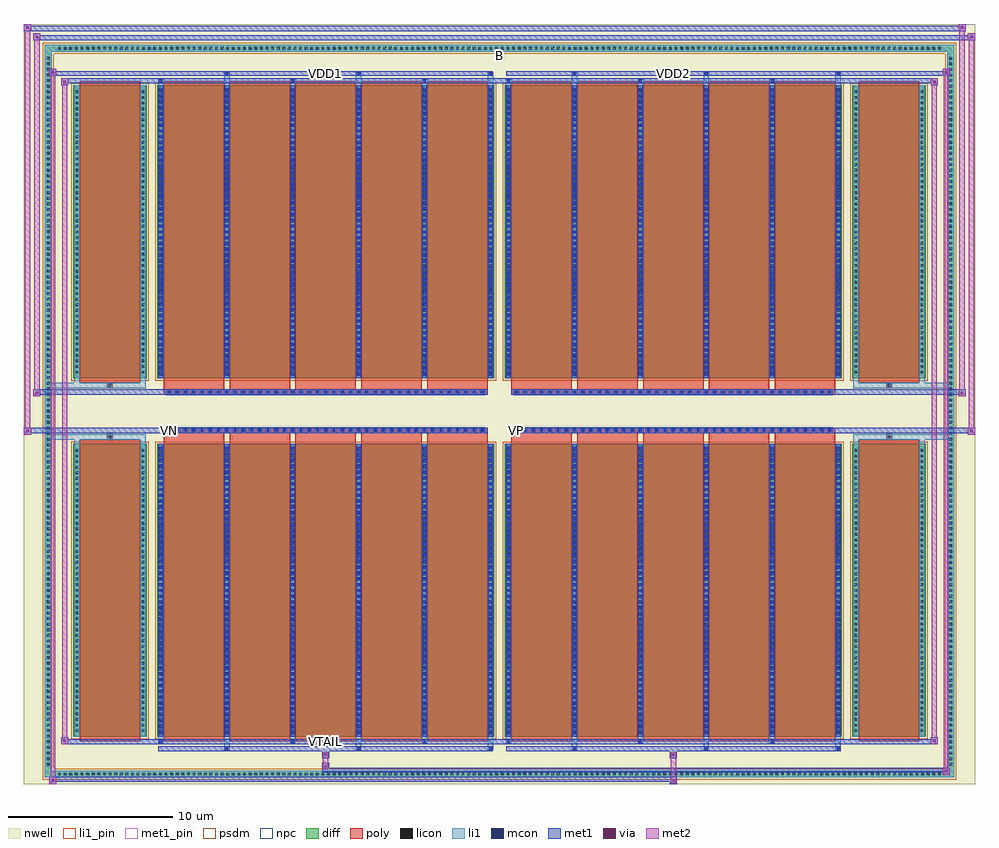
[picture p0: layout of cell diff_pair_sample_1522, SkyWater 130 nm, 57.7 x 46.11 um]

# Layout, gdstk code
import gdstk
lib = gdstk.Library(unit=1e-6, precision=5e-09)
def R(c, l, rs):  # rectangles x0, y0, x1, y1
    for r in rs: c.add(gdstk.rectangle(r[:2], r[2:], *l))
def A(c, l, x, y, w, h, nx, ny, dx, dy):  # array of equal rectangles
    R(c, l, [(x+i*dx, y+j*dy, x+i*dx+w, y+j*dy+h) for i in range(nx) for j in range(ny)])
def P(c, l, *ps):  # polygons
    for p in ps: c.add(gdstk.Polygon(p, *l))
nwell = (64, 20)
diff = (65, 20)
poly = (66, 20)
licon = (66, 44)
li1_pin = (67, 16)
li1 = (67, 20)
mcon = (67, 44)
met1_pin = (68, 16)
met1 = (68, 20)
via = (68, 44)
met2 = (69, 20)
psdm = (94, 20)
npc = (95, 20)

diff_pair_sample_1522 = lib.new_cell('diff_pair_sample_1522')
R(diff_pair_sample_1522, nwell, [(-28.85,-22.62,28.85,23.49), (-26.17,-20.81,-0.01,-0.795), (0.01,-20.81,26.17,-0.795), (-26.17,0.795,-0.01,20.81), (0.01,0.795,26.17,20.81)])
A(diff_pair_sample_1522, diff, -26.895, -22.22, 0.41, 0.41, 158, 2, 0.34, 44.03)
A(diff_pair_sample_1522, diff, -27.58, -21.625, 0.41, 0.41, 1, 127, 0, 0.34)
A(diff_pair_sample_1522, diff, 27.17, -21.625, 0.41, 0.41, 1, 127, 0, 0.34)
R(diff_pair_sample_1522, diff, [(-26.895,-22.22,26.895,-21.81), (-27.58,-21.625,-27.17,21.625), (27.17,-21.625,27.58,21.625), (-25.86,-19.765,-21.41,-1.985), (-20.77,-19.765,-0.32,-1.985), (0.32,-19.765,20.77,-1.985), (21.41,-19.765,25.86,-1.985), (-25.86,1.985,-21.41,19.765), (-20.77,1.985,-0.32,19.765), (0.32,1.985,20.77,19.765), (21.41,1.985,25.86,19.765), (-26.895,21.81,26.895,22.22)])
P(diff_pair_sample_1522, diff, [(27.58,22.22),(-27.58,22.22),(-27.58,-21.81),(-27.17,-21.81),(-27.17,21.81),(27.17,21.81),(27.17,-21.81),(-27.17,-21.81),(-27.58,-21.81),(-27.58,-22.22),(27.58,-22.22)])
A(diff_pair_sample_1522, poly, -20.38, -20.015, 3.67, 18.28, 5, 2, 4, 21.75)
A(diff_pair_sample_1522, poly, 0.71, -20.015, 3.67, 18.28, 5, 2, 4, 21.75)
A(diff_pair_sample_1522, poly, -20.38, -1.735, 3.67, 0.41, 5, 2, 4, 3.06)
A(diff_pair_sample_1522, poly, 0.71, -1.735, 3.67, 0.41, 5, 2, 4, 3.06)
A(diff_pair_sample_1522, poly, -20.21, -1.325, 0.33, 0.33, 39, 2, 0.5, 2.32)
A(diff_pair_sample_1522, poly, 0.88, -1.325, 0.33, 0.33, 39, 2, 0.5, 2.32)
R(diff_pair_sample_1522, poly, [(-25.47,-20.015,-21.8,-1.735), (21.8,-20.015,25.47,-1.735), (-23.8,-1.735,-23.47,-1.405), (-23.8,-1.735,-23.47,-1.405), (23.47,-1.735,23.8,-1.405), (23.47,-1.735,23.8,-1.405), (-20.38,-1.325,-0.71,-0.995), (0.71,-1.325,20.38,-0.995), (-20.38,0.995,-0.71,1.325), (0.71,0.995,20.38,1.325), (-23.8,1.405,-23.47,1.735), (-23.8,1.405,-23.47,1.735), (23.47,1.405,23.8,1.735), (23.47,1.405,23.8,1.735), (-25.47,1.735,-21.8,20.015), (21.8,1.735,25.47,20.015)])
A(diff_pair_sample_1522, licon, -26.775, -22.1, 0.17, 0.17, 158, 2, 0.34, 44.03)
A(diff_pair_sample_1522, licon, -27.46, -21.505, 0.17, 0.17, 1, 127, 0, 0.34)
A(diff_pair_sample_1522, licon, 27.29, -21.505, 0.17, 0.17, 1, 127, 0, 0.34)
A(diff_pair_sample_1522, licon, -25.72, -19.46, 0.17, 0.17, 1, 51, 0, 0.34)
A(diff_pair_sample_1522, licon, -21.72, -19.46, 0.17, 0.17, 1, 51, 0, 0.34)
A(diff_pair_sample_1522, licon, -20.63, -19.46, 0.17, 0.17, 6, 51, 4, 0.34)
A(diff_pair_sample_1522, licon, 0.46, -19.46, 0.17, 0.17, 6, 51, 4, 0.34)
A(diff_pair_sample_1522, licon, 21.55, -19.46, 0.17, 0.17, 1, 51, 0, 0.34)
A(diff_pair_sample_1522, licon, 25.55, -19.46, 0.17, 0.17, 1, 51, 0, 0.34)
A(diff_pair_sample_1522, licon, -20.13, -1.245, 0.17, 0.17, 39, 2, 0.5, 2.32)
A(diff_pair_sample_1522, licon, 0.96, -1.245, 0.17, 0.17, 39, 2, 0.5, 2.32)
A(diff_pair_sample_1522, licon, -25.72, 2.29, 0.17, 0.17, 1, 51, 0, 0.34)
A(diff_pair_sample_1522, licon, -21.72, 2.29, 0.17, 0.17, 1, 51, 0, 0.34)
A(diff_pair_sample_1522, licon, -20.63, 2.29, 0.17, 0.17, 6, 51, 4, 0.34)
A(diff_pair_sample_1522, licon, 0.46, 2.29, 0.17, 0.17, 6, 51, 4, 0.34)
A(diff_pair_sample_1522, licon, 21.55, 2.29, 0.17, 0.17, 1, 51, 0, 0.34)
A(diff_pair_sample_1522, licon, 25.55, 2.29, 0.17, 0.17, 1, 51, 0, 0.34)
R(diff_pair_sample_1522, licon, [(-23.72,-1.655,-23.55,-1.485), (23.55,-1.655,23.72,-1.485), (-23.72,1.485,-23.55,1.655), (23.55,1.485,23.72,1.655)])
R(diff_pair_sample_1522, li1_pin, [(-0.25,21.31,0.25,21.81)])
A(diff_pair_sample_1522, li1, -26.855, -22.18, 0.33, 0.33, 158, 2, 0.34, 44.03)
A(diff_pair_sample_1522, li1, -27.54, -21.585, 0.33, 0.33, 1, 127, 0, 0.34)
A(diff_pair_sample_1522, li1, 27.21, -21.585, 0.33, 0.33, 1, 127, 0, 0.34)
A(diff_pair_sample_1522, li1, -16.71, -20.57, 0.33, 0.805, 3, 2, 8, 40.335)
A(diff_pair_sample_1522, li1, -16.63, -20.57, 0.17, 0.17, 3, 2, 8, 40.97)
A(diff_pair_sample_1522, li1, 4.38, -20.57, 0.33, 0.805, 3, 2, 8, 40.335)
A(diff_pair_sample_1522, li1, 4.46, -20.57, 0.17, 0.17, 3, 2, 8, 40.97)
A(diff_pair_sample_1522, li1, -20.71, -20.14, 0.33, 0.375, 3, 2, 8, 39.905)
A(diff_pair_sample_1522, li1, -20.63, -20.14, 0.17, 0.17, 3, 2, 8, 40.11)
A(diff_pair_sample_1522, li1, 0.38, -20.14, 0.33, 0.375, 3, 2, 8, 39.905)
A(diff_pair_sample_1522, li1, 0.46, -20.14, 0.17, 0.17, 3, 2, 8, 40.11)
A(diff_pair_sample_1522, li1, -20.71, -19.765, 0.33, 17.78, 6, 2, 4, 21.75)
A(diff_pair_sample_1522, li1, 0.38, -19.765, 0.33, 17.78, 6, 2, 4, 21.75)
A(diff_pair_sample_1522, li1, -20.63, -19.6, 0.17, 0.17, 6, 49, 4, 0.36)
A(diff_pair_sample_1522, li1, -20.63, -19.6, 0.17, 17.45, 6, 2, 4, 21.75)
A(diff_pair_sample_1522, li1, 0.46, -19.6, 0.17, 0.17, 6, 49, 4, 0.36)
A(diff_pair_sample_1522, li1, 0.46, -19.6, 0.17, 17.45, 6, 2, 4, 21.75)
A(diff_pair_sample_1522, li1, -25.8, -19.54, 0.33, 0.33, 1, 51, 0, 0.34)
A(diff_pair_sample_1522, li1, -21.8, -19.54, 0.33, 0.33, 1, 51, 0, 0.34)
A(diff_pair_sample_1522, li1, -20.71, -19.54, 0.33, 0.33, 6, 51, 4, 0.34)
A(diff_pair_sample_1522, li1, 0.38, -19.54, 0.33, 0.33, 6, 51, 4, 0.34)
A(diff_pair_sample_1522, li1, 21.47, -19.54, 0.33, 0.33, 1, 51, 0, 0.34)
A(diff_pair_sample_1522, li1, 25.47, -19.54, 0.33, 0.33, 1, 51, 0, 0.34)
A(diff_pair_sample_1522, li1, -20.21, -1.325, 0.33, 0.33, 39, 2, 0.5, 2.32)
A(diff_pair_sample_1522, li1, 0.88, -1.325, 0.33, 0.33, 39, 2, 0.5, 2.32)
A(diff_pair_sample_1522, li1, -20.63, 2.15, 0.17, 0.17, 6, 49, 4, 0.36)
A(diff_pair_sample_1522, li1, 0.46, 2.15, 0.17, 0.17, 6, 49, 4, 0.36)
A(diff_pair_sample_1522, li1, -25.8, 2.21, 0.33, 0.33, 1, 51, 0, 0.34)
A(diff_pair_sample_1522, li1, -21.8, 2.21, 0.33, 0.33, 1, 51, 0, 0.34)
A(diff_pair_sample_1522, li1, -20.71, 2.21, 0.33, 0.33, 6, 51, 4, 0.34)
A(diff_pair_sample_1522, li1, 0.38, 2.21, 0.33, 0.33, 6, 51, 4, 0.34)
A(diff_pair_sample_1522, li1, 21.47, 2.21, 0.33, 0.33, 1, 51, 0, 0.34)
A(diff_pair_sample_1522, li1, 25.47, 2.21, 0.33, 0.33, 1, 51, 0, 0.34)
R(diff_pair_sample_1522, li1, [(-27.58,-22.22,-27.17,-21.81), (-27.58,-22.22,-27.17,-21.81), (-27.17,-22.22,27.17,-21.81), (27.17,-22.22,27.58,-21.81), (27.17,-22.22,27.58,-21.81), (-27.58,-21.81,-27.17,21.81), (27.17,-21.81,27.58,21.81), (-25.8,-19.765,-25.47,-1.985), (-21.8,-19.765,-21.47,-1.985), (21.47,-19.765,21.8,-1.985), (25.47,-19.765,25.8,-1.985), (-25.8,-1.985,-25.47,-1.405), (-21.8,-1.985,-21.47,-1.405), (21.47,-1.985,21.8,-1.405), (25.47,-1.985,25.8,-1.405), (-27.58,-1.735,-23.8,-1.405), (-25.8,-1.735,-23.8,-1.405), (-23.8,-1.735,-23.47,-1.405), (-23.47,-1.735,-21.47,-1.405), (21.47,-1.735,23.47,-1.405), (23.47,-1.735,23.8,-1.405), (23.47,-1.735,27.58,-1.405), (23.8,-1.735,25.8,-1.405), (-27.58,1.405,-23.8,1.735), (-25.8,1.405,-23.8,1.735), (-25.8,1.405,-25.47,1.985), (-23.8,1.405,-23.47,1.735), (-23.47,1.405,-21.47,1.735), (-21.8,1.405,-21.47,1.985), (21.47,1.405,23.47,1.735), (21.47,1.405,21.8,1.985), (23.47,1.405,23.8,1.735), (23.47,1.405,27.58,1.735), (23.8,1.405,25.8,1.735), (25.47,1.405,25.8,1.985), (-25.8,1.985,-25.47,19.765), (-21.8,1.985,-21.47,19.765), (21.47,1.985,21.8,19.765), (25.47,1.985,25.8,19.765), (-27.58,21.81,-27.17,22.22), (-27.58,21.81,-27.17,22.22), (-27.17,21.81,27.17,22.22), (27.17,21.81,27.58,22.22), (27.17,21.81,27.58,22.22)])
A(diff_pair_sample_1522, mcon, -16.63, -20.57, 0.17, 0.17, 3, 2, 8, 40.97)
A(diff_pair_sample_1522, mcon, 4.46, -20.57, 0.17, 0.17, 3, 2, 8, 40.97)
A(diff_pair_sample_1522, mcon, -20.63, -20.14, 0.17, 0.17, 3, 2, 8, 40.11)
A(diff_pair_sample_1522, mcon, 0.46, -20.14, 0.17, 0.17, 3, 2, 8, 40.11)
A(diff_pair_sample_1522, mcon, -20.63, -19.6, 0.17, 0.17, 6, 49, 4, 0.36)
A(diff_pair_sample_1522, mcon, 0.46, -19.6, 0.17, 0.17, 6, 49, 4, 0.36)
A(diff_pair_sample_1522, mcon, -20.13, -1.245, 0.17, 0.17, 39, 2, 0.5, 2.32)
A(diff_pair_sample_1522, mcon, 0.96, -1.245, 0.17, 0.17, 39, 2, 0.5, 2.32)
A(diff_pair_sample_1522, mcon, -20.63, 2.15, 0.17, 0.17, 6, 49, 4, 0.36)
A(diff_pair_sample_1522, mcon, 0.46, 2.15, 0.17, 0.17, 6, 49, 4, 0.36)
R(diff_pair_sample_1522, met1_pin, [(-10.68,-20.18,-10.41,-19.91), (-20.18,-1.285,-19.91,-1.015), (0.91,-1.285,1.18,-1.015), (-10.68,20.36,-10.41,20.63), (10.41,20.36,10.68,20.63)])
A(diff_pair_sample_1522, met1, -16.69, -20.63, 0.29, 0.29, 3, 2, 8, 40.97)
A(diff_pair_sample_1522, met1, 4.4, -20.63, 0.29, 0.29, 3, 2, 8, 40.97)
A(diff_pair_sample_1522, met1, -20.69, -20.2, 0.29, 0.29, 3, 2, 8, 40.11)
A(diff_pair_sample_1522, met1, 0.4, -20.2, 0.29, 0.29, 3, 2, 8, 40.11)
A(diff_pair_sample_1522, met1, -20.69, -19.765, 0.29, 17.78, 6, 2, 4, 21.75)
A(diff_pair_sample_1522, met1, 0.4, -19.765, 0.29, 17.78, 6, 2, 4, 21.75)
A(diff_pair_sample_1522, met1, -20.69, -19.66, 0.29, 0.29, 6, 49, 4, 0.36)
A(diff_pair_sample_1522, met1, 0.4, -19.66, 0.29, 0.29, 6, 49, 4, 0.36)
A(diff_pair_sample_1522, met1, -20.19, -1.305, 0.29, 0.29, 39, 2, 0.5, 2.32)
A(diff_pair_sample_1522, met1, 0.9, -1.305, 0.29, 0.29, 39, 2, 0.5, 2.32)
A(diff_pair_sample_1522, met1, -20.69, 2.09, 0.29, 0.29, 6, 49, 4, 0.36)
A(diff_pair_sample_1522, met1, 0.4, 2.09, 0.29, 0.29, 6, 49, 4, 0.36)
R(diff_pair_sample_1522, met1, [(-27.31,-22.62,-26.88,-22.19), (10.33,-22.62,10.76,-22.19), (-27.31,-22.48,10.76,-22.19), (26.88,-22.05,27.31,-21.62), (-10.76,-21.91,27.31,-21.62), (-10.76,-21.77,-10.33,-21.34), (-10.76,-21.06,-10.33,-20.63), (10.33,-21.06,10.76,-20.63), (-20.69,-20.63,-0.4,-20.34), (0.4,-20.63,20.69,-20.34), (-26.6,-20.2,-26.17,-19.77), (-26.6,-20.2,-20.69,-19.91), (-20.69,-20.2,-0.4,-19.91), (-0.4,-20.2,0.4,-19.91), (0.4,-20.2,20.69,-19.91), (20.69,-20.2,26.6,-19.91), (26.17,-20.2,26.6,-19.77), (-28.85,-1.425,-28.42,-0.995), (28.42,-1.425,28.85,-0.995), (-28.85,-1.325,-0.71,-0.995), (-20.38,-1.325,-0.71,-0.995), (0.71,-1.325,20.38,-0.995), (0.71,-1.325,28.85,-0.995), (-28.28,0.895,-27.85,1.325), (27.85,0.895,28.28,1.325), (-28.28,0.995,-20.38,1.325), (-20.38,0.995,-0.71,1.325), (0.71,0.995,20.38,1.325), (20.38,0.995,28.28,1.325), (-26.6,19.77,-26.17,20.2), (26.17,19.77,26.6,20.2), (-26.6,19.91,-20.69,20.2), (-20.69,19.91,-0.4,20.2), (-0.4,19.91,0.4,20.2), (0.4,19.91,20.69,20.2), (20.69,19.91,26.6,20.2), (-27.31,20.34,-26.88,20.77), (-27.31,20.34,-20.69,20.63), (-20.69,20.34,-0.4,20.63), (0.4,20.34,20.69,20.63), (20.69,20.34,27.31,20.63), (26.88,20.34,27.31,20.77), (-28.28,22.49,-27.85,22.92), (-28.28,22.49,-26.17,22.82), (-26.17,22.49,26.17,22.82), (26.17,22.49,28.85,22.82), (28.42,22.49,28.85,22.92), (-28.85,23.06,-28.42,23.49), (-28.85,23.06,-26.17,23.39), (-26.17,23.06,26.17,23.39), (26.17,23.06,28.28,23.39), (27.85,23.06,28.28,23.49)])
R(diff_pair_sample_1522, via, [(-27.17,-22.48,-27.02,-22.33), (10.47,-22.48,10.62,-22.33), (27.02,-21.91,27.17,-21.76), (-10.62,-21.63,-10.47,-21.48), (-10.62,-20.92,-10.47,-20.77), (10.47,-20.92,10.62,-20.77), (-26.46,-20.06,-26.31,-19.91), (26.31,-20.06,26.46,-19.91), (-28.71,-1.285,-28.56,-1.135), (28.56,-1.285,28.71,-1.135), (-28.14,1.035,-27.99,1.185), (27.99,1.035,28.14,1.185), (-26.46,19.91,-26.31,20.06), (26.31,19.91,26.46,20.06), (-27.17,20.48,-27.02,20.63), (27.02,20.48,27.17,20.63), (-28.14,22.63,-27.99,22.78), (28.56,22.63,28.71,22.78), (-28.71,23.2,-28.56,23.35), (27.99,23.2,28.14,23.35)])
R(diff_pair_sample_1522, met2, [(-27.31,-22.62,-26.88,-22.19), (-27.24,-22.62,-26.95,20.77), (-26.95,-22.62,-26.88,-22.19), (-27.26,-22.57,-26.93,-22.24), (10.38,-22.57,10.71,-22.24), (10.38,-22.24,10.71,-21.01), (26.88,-22.05,27.31,-21.62), (26.95,-22.05,27.24,20.77), (27.24,-22.05,27.31,-21.62), (26.93,-22,27.26,-21.67), (-10.71,-21.72,-10.38,-21.39), (-10.71,-21.39,-10.38,-21.01), (-10.71,-21.01,-10.38,-20.68), (10.38,-21.01,10.71,-20.68), (-26.6,-20.2,-26.17,-19.77), (-26.53,-20.2,-26.24,20.2), (-26.24,-20.2,-26.17,-19.77), (26.17,-20.2,26.6,-19.77), (26.24,-20.2,26.53,20.2), (26.53,-20.2,26.6,-19.77), (-26.55,-20.15,-26.22,-19.82), (26.22,-20.15,26.55,-19.82), (-28.85,-1.425,-28.42,-0.995), (-28.8,-1.425,-28.47,23.49), (-28.47,-1.425,-28.42,-0.995), (28.42,-1.425,28.85,-0.995), (28.47,-1.425,28.8,22.92), (28.8,-1.425,28.85,-0.995), (-28.8,-1.375,-28.47,-1.045), (28.47,-1.375,28.8,-1.045), (-28.28,0.895,-27.85,1.325), (-28.23,0.895,-27.9,22.92), (-27.9,0.895,-27.85,1.325), (27.85,0.895,28.28,1.325), (27.9,0.895,28.23,23.49), (28.23,0.895,28.28,1.325), (-28.23,0.945,-27.9,1.275), (27.9,0.945,28.23,1.275), (-26.6,19.77,-26.17,20.2), (-26.24,19.77,-26.17,20.2), (26.17,19.77,26.6,20.2), (26.53,19.77,26.6,20.2), (-26.55,19.82,-26.22,20.15), (26.22,19.82,26.55,20.15), (-27.31,20.34,-26.88,20.77), (-26.95,20.34,-26.88,20.77), (26.88,20.34,27.31,20.77), (27.24,20.34,27.31,20.77), (-27.26,20.39,-26.93,20.72), (26.93,20.39,27.26,20.72), (-28.28,22.49,-27.85,22.92), (-27.9,22.49,-27.85,22.92), (28.42,22.49,28.85,22.92), (28.8,22.49,28.85,22.92), (-28.23,22.54,-27.9,22.87), (28.47,22.54,28.8,22.87), (-28.85,23.06,-28.42,23.49), (-28.47,23.06,-28.42,23.49), (27.85,23.06,28.28,23.49), (28.23,23.06,28.28,23.49), (-28.8,23.11,-28.47,23.44), (27.9,23.11,28.23,23.44)])
R(diff_pair_sample_1522, psdm, [(-25.99,-19.895,-21.28,-1.855), (-20.9,-19.895,-0.19,-1.855), (0.19,-19.895,20.9,-1.855), (21.28,-19.895,25.99,-1.855), (-25.99,1.855,-21.28,19.895), (-20.9,1.855,-0.19,19.895), (0.19,1.855,20.9,19.895), (21.28,1.855,25.99,19.895)])
P(diff_pair_sample_1522, psdm, [(27.71,22.35),(-27.71,22.35),(-27.71,-21.68),(-27.04,-21.68),(-27.04,21.68),(27.04,21.68),(27.04,-21.68),(-27.04,-21.68),(-27.71,-21.68),(-27.71,-22.35),(27.71,-22.35)])
A(diff_pair_sample_1522, npc, -20.23, -1.345, 0.37, 0.37, 39, 2, 0.5, 2.32)
A(diff_pair_sample_1522, npc, 0.86, -1.345, 0.37, 0.37, 39, 2, 0.5, 2.32)
R(diff_pair_sample_1522, npc, [(-23.82,-1.755,-23.45,-1.385), (23.45,-1.755,23.82,-1.385), (-20.23,-1.345,-19.36,-0.975), (-20.23,-1.345,-19.36,-0.975), (-19.73,-1.345,-18.86,-0.975), (-19.73,-1.345,-18.86,-0.975), (-19.23,-1.345,-18.36,-0.975), (-19.23,-1.345,-18.36,-0.975), (-18.73,-1.345,-17.86,-0.975), (-18.73,-1.345,-17.86,-0.975), (-18.23,-1.345,-17.36,-0.975), (-18.23,-1.345,-17.36,-0.975), (-17.73,-1.345,-16.86,-0.975), (-17.73,-1.345,-16.86,-0.975), (-17.23,-1.345,-16.36,-0.975), (-17.23,-1.345,-16.36,-0.975), (-16.73,-1.345,-15.86,-0.975), (-16.73,-1.345,-15.86,-0.975), (-16.23,-1.345,-15.36,-0.975), (-16.23,-1.345,-15.36,-0.975), (-15.73,-1.345,-14.86,-0.975), (-15.73,-1.345,-14.86,-0.975), (-15.23,-1.345,-14.36,-0.975), (-15.23,-1.345,-14.36,-0.975), (-14.73,-1.345,-13.86,-0.975), (-14.73,-1.345,-13.86,-0.975), (-14.23,-1.345,-13.36,-0.975), (-14.23,-1.345,-13.36,-0.975), (-13.73,-1.345,-12.86,-0.975), (-13.73,-1.345,-12.86,-0.975), (-13.23,-1.345,-12.36,-0.975), (-13.23,-1.345,-12.36,-0.975), (-12.73,-1.345,-11.86,-0.975), (-12.73,-1.345,-11.86,-0.975), (-12.23,-1.345,-11.36,-0.975), (-12.23,-1.345,-11.36,-0.975), (-11.73,-1.345,-10.86,-0.975), (-11.73,-1.345,-10.86,-0.975), (-11.23,-1.345,-10.36,-0.975), (-11.23,-1.345,-10.36,-0.975), (-10.73,-1.345,-9.86,-0.975), (-10.73,-1.345,-9.86,-0.975), (-10.23,-1.345,-9.36,-0.975), (-10.23,-1.345,-9.36,-0.975), (-9.73,-1.345,-8.86,-0.975), (-9.73,-1.345,-8.86,-0.975), (-9.23,-1.345,-8.36,-0.975), (-9.23,-1.345,-8.36,-0.975), (-8.73,-1.345,-7.86,-0.975), (-8.73,-1.345,-7.86,-0.975), (-8.23,-1.345,-7.36,-0.975), (-8.23,-1.345,-7.36,-0.975), (-7.73,-1.345,-6.86,-0.975), (-7.73,-1.345,-6.86,-0.975), (-7.23,-1.345,-6.36,-0.975), (-7.23,-1.345,-6.36,-0.975), (-6.73,-1.345,-5.86,-0.975), (-6.73,-1.345,-5.86,-0.975), (-6.23,-1.345,-5.36,-0.975), (-6.23,-1.345,-5.36,-0.975), (-5.73,-1.345,-4.86,-0.975), (-5.73,-1.345,-4.86,-0.975), (-5.23,-1.345,-4.36,-0.975), (-5.23,-1.345,-4.36,-0.975), (-4.73,-1.345,-3.86,-0.975), (-4.73,-1.345,-3.86,-0.975), (-4.23,-1.345,-3.36,-0.975), (-4.23,-1.345,-3.36,-0.975), (-3.73,-1.345,-2.86,-0.975), (-3.73,-1.345,-2.86,-0.975), (-3.23,-1.345,-2.36,-0.975), (-3.23,-1.345,-2.36,-0.975), (-2.73,-1.345,-1.86,-0.975), (-2.73,-1.345,-1.86,-0.975), (-2.23,-1.345,-1.36,-0.975), (-2.23,-1.345,-1.36,-0.975), (-1.73,-1.345,-0.86,-0.975), (-1.73,-1.345,-0.86,-0.975), (0.86,-1.345,1.73,-0.975), (0.86,-1.345,1.73,-0.975), (1.36,-1.345,2.23,-0.975), (1.36,-1.345,2.23,-0.975), (1.86,-1.345,2.73,-0.975), (1.86,-1.345,2.73,-0.975), (2.36,-1.345,3.23,-0.975), (2.36,-1.345,3.23,-0.975), (2.86,-1.345,3.73,-0.975), (2.86,-1.345,3.73,-0.975), (3.36,-1.345,4.23,-0.975), (3.36,-1.345,4.23,-0.975), (3.86,-1.345,4.73,-0.975), (3.86,-1.345,4.73,-0.975), (4.36,-1.345,5.23,-0.975), (4.36,-1.345,5.23,-0.975), (4.86,-1.345,5.73,-0.975), (4.86,-1.345,5.73,-0.975), (5.36,-1.345,6.23,-0.975), (5.36,-1.345,6.23,-0.975), (5.86,-1.345,6.73,-0.975), (5.86,-1.345,6.73,-0.975), (6.36,-1.345,7.23,-0.975), (6.36,-1.345,7.23,-0.975), (6.86,-1.345,7.73,-0.975), (6.86,-1.345,7.73,-0.975), (7.36,-1.345,8.23,-0.975), (7.36,-1.345,8.23,-0.975), (7.86,-1.345,8.73,-0.975), (7.86,-1.345,8.73,-0.975), (8.36,-1.345,9.23,-0.975), (8.36,-1.345,9.23,-0.975), (8.86,-1.345,9.73,-0.975), (8.86,-1.345,9.73,-0.975), (9.36,-1.345,10.23,-0.975), (9.36,-1.345,10.23,-0.975), (9.86,-1.345,10.73,-0.975), (9.86,-1.345,10.73,-0.975), (10.36,-1.345,11.23,-0.975), (10.36,-1.345,11.23,-0.975), (10.86,-1.345,11.73,-0.975), (10.86,-1.345,11.73,-0.975), (11.36,-1.345,12.23,-0.975), (11.36,-1.345,12.23,-0.975), (11.86,-1.345,12.73,-0.975), (11.86,-1.345,12.73,-0.975), (12.36,-1.345,13.23,-0.975), (12.36,-1.345,13.23,-0.975), (12.86,-1.345,13.73,-0.975), (12.86,-1.345,13.73,-0.975), (13.36,-1.345,14.23,-0.975), (13.36,-1.345,14.23,-0.975), (13.86,-1.345,14.73,-0.975), (13.86,-1.345,14.73,-0.975), (14.36,-1.345,15.23,-0.975), (14.36,-1.345,15.23,-0.975), (14.86,-1.345,15.73,-0.975), (14.86,-1.345,15.73,-0.975), (15.36,-1.345,16.23,-0.975), (15.36,-1.345,16.23,-0.975), (15.86,-1.345,16.73,-0.975), (15.86,-1.345,16.73,-0.975), (16.36,-1.345,17.23,-0.975), (16.36,-1.345,17.23,-0.975), (16.86,-1.345,17.73,-0.975), (16.86,-1.345,17.73,-0.975), (17.36,-1.345,18.23,-0.975), (17.36,-1.345,18.23,-0.975), (17.86,-1.345,18.73,-0.975), (17.86,-1.345,18.73,-0.975), (18.36,-1.345,19.23,-0.975), (18.36,-1.345,19.23,-0.975), (18.86,-1.345,19.73,-0.975), (18.86,-1.345,19.73,-0.975), (19.36,-1.345,20.23,-0.975), (19.36,-1.345,20.23,-0.975), (-20.23,0.975,-19.36,1.345), (-20.23,0.975,-19.36,1.345), (-19.73,0.975,-18.86,1.345), (-19.73,0.975,-18.86,1.345), (-19.23,0.975,-18.36,1.345), (-19.23,0.975,-18.36,1.345), (-18.73,0.975,-17.86,1.345), (-18.73,0.975,-17.86,1.345), (-18.23,0.975,-17.36,1.345), (-18.23,0.975,-17.36,1.345), (-17.73,0.975,-16.86,1.345), (-17.73,0.975,-16.86,1.345), (-17.23,0.975,-16.36,1.345), (-17.23,0.975,-16.36,1.345), (-16.73,0.975,-15.86,1.345), (-16.73,0.975,-15.86,1.345), (-16.23,0.975,-15.36,1.345), (-16.23,0.975,-15.36,1.345), (-15.73,0.975,-14.86,1.345), (-15.73,0.975,-14.86,1.345), (-15.23,0.975,-14.36,1.345), (-15.23,0.975,-14.36,1.345), (-14.73,0.975,-13.86,1.345), (-14.73,0.975,-13.86,1.345), (-14.23,0.975,-13.36,1.345), (-14.23,0.975,-13.36,1.345), (-13.73,0.975,-12.86,1.345), (-13.73,0.975,-12.86,1.345), (-13.23,0.975,-12.36,1.345), (-13.23,0.975,-12.36,1.345), (-12.73,0.975,-11.86,1.345), (-12.73,0.975,-11.86,1.345), (-12.23,0.975,-11.36,1.345), (-12.23,0.975,-11.36,1.345), (-11.73,0.975,-10.86,1.345), (-11.73,0.975,-10.86,1.345), (-11.23,0.975,-10.36,1.345), (-11.23,0.975,-10.36,1.345), (-10.73,0.975,-9.86,1.345), (-10.73,0.975,-9.86,1.345), (-10.23,0.975,-9.36,1.345), (-10.23,0.975,-9.36,1.345), (-9.73,0.975,-8.86,1.345), (-9.73,0.975,-8.86,1.345), (-9.23,0.975,-8.36,1.345), (-9.23,0.975,-8.36,1.345), (-8.73,0.975,-7.86,1.345), (-8.73,0.975,-7.86,1.345), (-8.23,0.975,-7.36,1.345), (-8.23,0.975,-7.36,1.345), (-7.73,0.975,-6.86,1.345), (-7.73,0.975,-6.86,1.345), (-7.23,0.975,-6.36,1.345), (-7.23,0.975,-6.36,1.345), (-6.73,0.975,-5.86,1.345), (-6.73,0.975,-5.86,1.345), (-6.23,0.975,-5.36,1.345), (-6.23,0.975,-5.36,1.345), (-5.73,0.975,-4.86,1.345), (-5.73,0.975,-4.86,1.345), (-5.23,0.975,-4.36,1.345), (-5.23,0.975,-4.36,1.345), (-4.73,0.975,-3.86,1.345), (-4.73,0.975,-3.86,1.345), (-4.23,0.975,-3.36,1.345), (-4.23,0.975,-3.36,1.345), (-3.73,0.975,-2.86,1.345), (-3.73,0.975,-2.86,1.345), (-3.23,0.975,-2.36,1.345), (-3.23,0.975,-2.36,1.345), (-2.73,0.975,-1.86,1.345), (-2.73,0.975,-1.86,1.345), (-2.23,0.975,-1.36,1.345), (-2.23,0.975,-1.36,1.345), (-1.73,0.975,-0.86,1.345), (-1.73,0.975,-0.86,1.345), (0.86,0.975,1.73,1.345), (0.86,0.975,1.73,1.345), (1.36,0.975,2.23,1.345), (1.36,0.975,2.23,1.345), (1.86,0.975,2.73,1.345), (1.86,0.975,2.73,1.345), (2.36,0.975,3.23,1.345), (2.36,0.975,3.23,1.345), (2.86,0.975,3.73,1.345), (2.86,0.975,3.73,1.345), (3.36,0.975,4.23,1.345), (3.36,0.975,4.23,1.345), (3.86,0.975,4.73,1.345), (3.86,0.975,4.73,1.345), (4.36,0.975,5.23,1.345), (4.36,0.975,5.23,1.345), (4.86,0.975,5.73,1.345), (4.86,0.975,5.73,1.345), (5.36,0.975,6.23,1.345), (5.36,0.975,6.23,1.345), (5.86,0.975,6.73,1.345), (5.86,0.975,6.73,1.345), (6.36,0.975,7.23,1.345), (6.36,0.975,7.23,1.345), (6.86,0.975,7.73,1.345), (6.86,0.975,7.73,1.345), (7.36,0.975,8.23,1.345), (7.36,0.975,8.23,1.345), (7.86,0.975,8.73,1.345), (7.86,0.975,8.73,1.345), (8.36,0.975,9.23,1.345), (8.36,0.975,9.23,1.345), (8.86,0.975,9.73,1.345), (8.86,0.975,9.73,1.345), (9.36,0.975,10.23,1.345), (9.36,0.975,10.23,1.345), (9.86,0.975,10.73,1.345), (9.86,0.975,10.73,1.345), (10.36,0.975,11.23,1.345), (10.36,0.975,11.23,1.345), (10.86,0.975,11.73,1.345), (10.86,0.975,11.73,1.345), (11.36,0.975,12.23,1.345), (11.36,0.975,12.23,1.345), (11.86,0.975,12.73,1.345), (11.86,0.975,12.73,1.345), (12.36,0.975,13.23,1.345), (12.36,0.975,13.23,1.345), (12.86,0.975,13.73,1.345), (12.86,0.975,13.73,1.345), (13.36,0.975,14.23,1.345), (13.36,0.975,14.23,1.345), (13.86,0.975,14.73,1.345), (13.86,0.975,14.73,1.345), (14.36,0.975,15.23,1.345), (14.36,0.975,15.23,1.345), (14.86,0.975,15.73,1.345), (14.86,0.975,15.73,1.345), (15.36,0.975,16.23,1.345), (15.36,0.975,16.23,1.345), (15.86,0.975,16.73,1.345), (15.86,0.975,16.73,1.345), (16.36,0.975,17.23,1.345), (16.36,0.975,17.23,1.345), (16.86,0.975,17.73,1.345), (16.86,0.975,17.73,1.345), (17.36,0.975,18.23,1.345), (17.36,0.975,18.23,1.345), (17.86,0.975,18.73,1.345), (17.86,0.975,18.73,1.345), (18.36,0.975,19.23,1.345), (18.36,0.975,19.23,1.345), (18.86,0.975,19.73,1.345), (18.86,0.975,19.73,1.345), (19.36,0.975,20.23,1.345), (19.36,0.975,20.23,1.345), (-23.82,1.385,-23.45,1.755), (23.45,1.385,23.82,1.755)])
diff_pair_sample_1522.add(gdstk.Label('VTAIL', (-10.545,-20.045), layer=68, texttype=5))
diff_pair_sample_1522.add(gdstk.Label('VN', (-20.045,-1.15), layer=68, texttype=5))
diff_pair_sample_1522.add(gdstk.Label('VP', (1.045,-1.15), layer=68, texttype=5))
diff_pair_sample_1522.add(gdstk.Label('B', (0,21.56), layer=67, texttype=5))
diff_pair_sample_1522.add(gdstk.Label('VDD2', (10.545,20.495), layer=68, texttype=5))
diff_pair_sample_1522.add(gdstk.Label('VDD1', (-10.545,20.495), layer=68, texttype=5))

lib.write_gds('diff_pair_sample_1522.gds')
